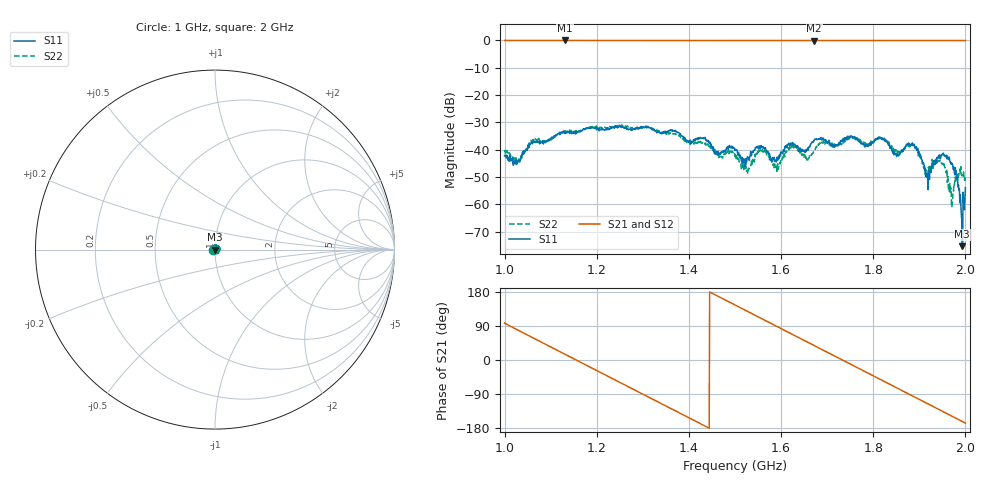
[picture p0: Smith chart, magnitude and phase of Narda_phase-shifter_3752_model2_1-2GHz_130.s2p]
#  HZ  S  DB  R  50.00
! Rohde & Schwarz Vector Network Analyzer
! Rohde-Schwarz,ZNB8-4Port,1311601044102961,2.82
! Created: UTC 1/17/2019, 2:37:44 PM
! freq[Hz]  db:S11  ang:S11  db:S21  ang:S21  db:S12  ang:S12  db:S22  ang:S22
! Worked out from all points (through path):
!   1001 points, 1 GHz to 2 GHz, reference 50 ohm
!   highest |S21| = -0.06 dB at 1.131 GHz (marker M1); lowest = -0.1 dB at 1.672 GHz (marker M2)
!   group delay of S21, straight-line fit = 1.73 ns
!   lowest |S11| = -75.3 dB at 1.993 GHz (marker M3), VSWR 1.00, Z = 50 + j0.0165 ohm
!   |S11| at or under -10 dB: start of sweep to end of sweep
!   |S22| runs from -61.1 to -31.0 dB; largest |S21 - S12| = 0.01
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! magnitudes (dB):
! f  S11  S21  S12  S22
! 1 GHz  -42.2  -0.1  -0.1  -40.8
! 1.03 GHz  -44.3  -0.1  -0.1  -44.4
! 1.058 GHz  -37.5  -0.1  -0.1  -37.0
! 1.131 GHz  -34.1  -0.1  -0.1  -33.5
! 1.167 GHz  -33.2  -0.1  -0.1  -33.0
! 1.334 GHz  -33.6  -0.1  -0.1  -33.3
! 1.5 GHz  -40.2  -0.1  -0.1  -42.4
! 1.525 GHz  -44.5  -0.1  -0.1  -47.9
! 1.556 GHz  -39.1  -0.1  -0.1  -40.5
! 1.59 GHz  -44.4  -0.1  -0.1  -46.1
! 1.623 GHz  -37.8  -0.1  -0.1  -38.5
! 1.667 GHz  -37.2  -0.1  -0.1  -41.5
! 1.672 GHz  -36.6  -0.1  -0.1  -40.6
! 1.834 GHz  -38.1  -0.1  -0.1  -37.2
! 1.888 GHz  -38.4  -0.1  -0.1  -38.7
! 1.917 GHz  -50.1  -0.1  -0.1  -49.2
! 1.942 GHz  -42.1  -0.1  -0.1  -43.9
! 1.96 GHz  -43.4  -0.1  -0.1  -47.2
! 1.969 GHz  -45.3  -0.1  -0.1  -54.1
! 1.982 GHz  -51.0  -0.1  -0.1  -48.6
! 1.993 GHz  -75.3  -0.1  -0.1  -49.6
! 2 GHz  -53.9  -0.1  -0.1  -51.6
